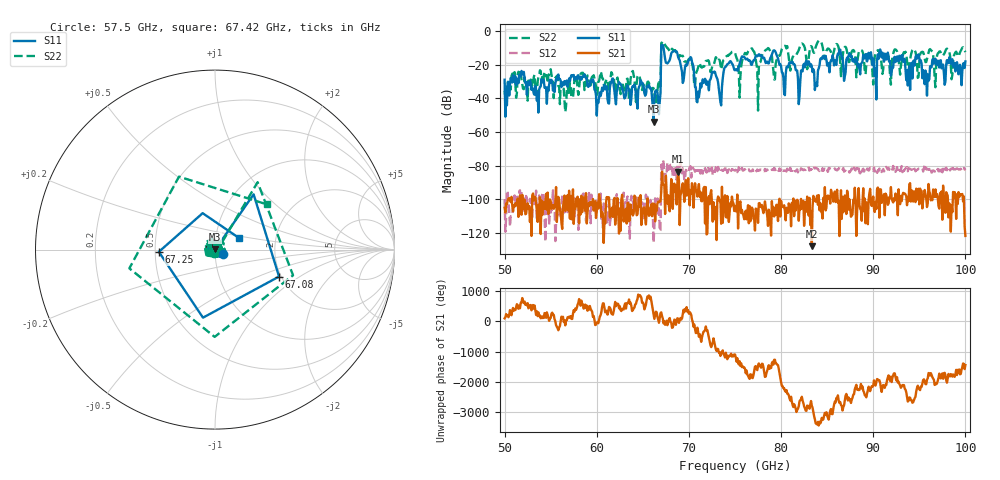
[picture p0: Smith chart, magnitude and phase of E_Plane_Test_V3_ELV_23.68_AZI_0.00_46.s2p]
! 11/26/2026 4:30:18 PM
! C:\ANRITSUVNA\TEMP\TEMP.S2P
! CHANNEL.1
! TR.MEASUREMENT
! RAW.DATA
# HZ S RI R 50.0
! FREQ.HZ  S11RE  S11IM  S21RE  S21IM  S12RE  S12IM  S22RE  S22IM
!; PortSelection: Port_12
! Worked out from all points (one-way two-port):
!   601 points, 50 GHz to 100 GHz, reference 50 ohm
!   highest |S21| = -83.65 dB at 68.83 GHz (marker M1); lowest = -128.0 dB at 83.33 GHz (marker M2)
!   lowest |S11| = -53.8 dB at 66.17 GHz (marker M3), VSWR 1.00, Z = 50.1 + j0.151 ohm
!   |S11| at or under -10 dB: start of sweep to 67 GHz; 67.25 GHz to end of sweep
!   |S22| runs from -48.2 to -5.6 dB; largest |S21 - S12| = 0.00013
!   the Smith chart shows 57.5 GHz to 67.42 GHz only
!   S11 on the Smith chart (normalised r, x): 57.5 GHz: 1.09, -0.05; 67.08 GHz: 1.95, -0.69; 67.25 GHz: 0.52, -0.01; 67.42 GHz: 1.29, +0.17
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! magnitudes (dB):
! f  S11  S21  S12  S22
! 50 GHz  -29.0  -105.2  -99.9  -35.5
! 57.5 GHz  -26.1  -114.7  -99.2  -34.6
! 58.42 GHz  -27.1  -107.7  -103.3  -24.8
! 60.17 GHz  -42.7  -105.6  -99.5  -30.3
! 66.17 GHz  -53.8  -108.7  -126.0  -34.0
! 66.67 GHz  -41.5  -101.5  -101.0  -31.6
! 67.08 GHz  -8.2  -83.7  -84.4  -6.8
! 67.25 GHz  -10.1  -91.3  -77.9  -6.2
! 67.42 GHz  -16.6  -108.8  -90.8  -8.3
! 68.83 GHz  -15.5  -83.7  -84.0  -15.1
! 70.25 GHz  -15.9  -96.6  -87.1  -18.7
! 70.92 GHz  -42.4  -98.5  -82.8  -23.2
! 75 GHz  -23.4  -104.0  -83.1  -13.0
! 77.58 GHz  -13.8  -102.5  -83.1  -21.7
! 78.5 GHz  -18.2  -109.8  -82.4  -10.8
! 79.33 GHz  -11.8  -106.2  -81.8  -28.7
! 80.25 GHz  -27.8  -104.8  -83.2  -9.4
! 83.33 GHz  -21.0  -128.0  -82.3  -9.3
! 83.42 GHz  -24.4  -104.3  -83.1  -10.8
! 91.67 GHz  -16.6  -102.5  -81.3  -15.2
! 95.83 GHz  -38.4  -104.7  -82.5  -16.5
! 100 GHz  -18.0  -121.9  -81.7  -12.5
